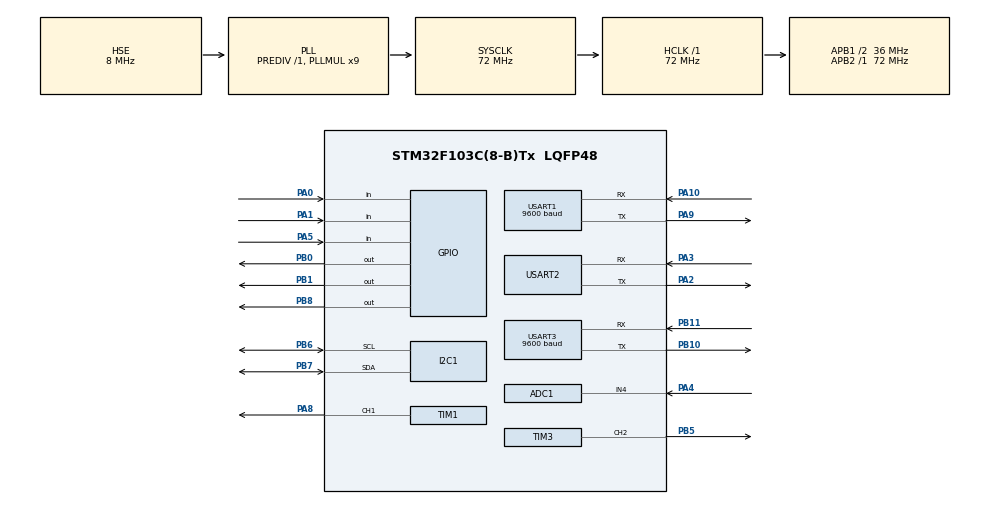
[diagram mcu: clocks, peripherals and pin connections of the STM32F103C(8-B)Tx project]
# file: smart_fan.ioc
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ADC1.Channel-1\#ChannelRegularConversion=ADC_CHANNEL_4
ADC1.NbrOfConversionFlag=1
ADC1.Rank-1\#ChannelRegularConversion=1
ADC1.SamplingTime-1\#ChannelRegularConversion=ADC_SAMPLETIME_1CYCLE_5
ADC1.master=1
FREERTOS.Mutexes01=oled_mutex,Dynamic,NULL,Available
FREERTOS.Queues01=xQueueCmd,16,8,1,Dynamic,NULL,NULL;xQueueSensorData,8,8,1,Dynamic,NULL,NULL
FREERTOS.Tasks01=defaultTask,24,128,StartDefaultTask,Default,NULL,Dynamic,NULL,NULL;Task_MotorFan,40,128,StartMotorFanTask,Default,NULL,Dynamic,NULL,NULL;Task_Sensor,32,128,StartSensorTask,Default,NULL,Dynamic,NULL,NULL;Task_Uart_UI,32,128,StartUart_UITask,Default,NULL,Dynamic,NULL,NULL;Task_Bluetooth,32,128,StartBluetoothTask,Default,NULL,Dynamic,NULL,NULL;Task_Voice,32,128,StartVoiceTask,Default,NULL,Dynamic,NULL,NULL;Task_OLED,24,128,StartOLEDTask,Default,NULL,Dynamic,NULL,NULL
Mcu.Family=STM32F1
Mcu.Name=STM32F103C(8-B)Tx
Mcu.Package=LQFP48
NVIC.PriorityGroup=NVIC_PRIORITYGROUP_4
NVIC.TIM4_IRQn=true\:15\:0\:false\:false\:true\:false\:false\:true\:true
NVIC.TimeBase=TIM4_IRQn
NVIC.TimeBaseIP=TIM4
NVIC.USART1_IRQn=true\:5\:0\:false\:false\:true\:true\:true\:true\:true
NVIC.USART2_IRQn=true\:5\:0\:false\:false\:true\:true\:true\:true\:true
NVIC.USART3_IRQn=true\:5\:0\:false\:false\:true\:true\:true\:true\:true
PA0-WKUP.GPIO_Mode=GPIO_MODE_INPUT
PA0-WKUP.Signal=GPIO_Input
PA1.GPIO_Mode=GPIO_MODE_INPUT
PA1.Signal=GPIO_Input
PA10.Mode=Asynchronous
PA10.Signal=USART1_RX
PA13.Mode=Serial_Wire
PA13.Signal=SYS_JTMS-SWDIO
PA14.Mode=Serial_Wire
PA14.Signal=SYS_JTCK-SWCLK
PA2.GPIO_Mode=GPIO_MODE_AF_PP
PA2.Mode=Asynchronous
PA2.Signal=USART2_TX
PA3.Mode=Asynchronous
PA3.Signal=USART2_RX
PA4.GPIO_Mode=GPIO_MODE_ANALOG
PA4.Signal=ADCx_IN4
PA5.GPIO_Mode=GPIO_MODE_INPUT
PA5.Signal=GPIO_Input
PA8.GPIO_ModeDefaultPP=GPIO_MODE_AF_PP
PA8.Signal=S_TIM1_CH1
PA9.Mode=Asynchronous
PA9.Signal=USART1_TX
PB0.PinState=GPIO_PIN_RESET
PB0.Signal=GPIO_Output
PB1.PinState=GPIO_PIN_RESET
PB1.Signal=GPIO_Output
PB10.Mode=Asynchronous
PB10.Signal=USART3_TX
PB11.Mode=Asynchronous
PB11.Signal=USART3_RX
PB5.GPIO_ModeDefaultPP=GPIO_MODE_AF_PP
PB5.Signal=S_TIM3_CH2
PB6.Mode=I2C
PB6.Signal=I2C1_SCL
PB7.Mode=I2C
PB7.Signal=I2C1_SDA
PB8.PinState=GPIO_PIN_SET
PB8.Signal=GPIO_Output
PD0-OSC_IN.Mode=HSE-External-Oscillator
PD0-OSC_IN.Signal=RCC_OSC_IN
PD1-OSC_OUT.Mode=HSE-External-Oscillator
PD1-OSC_OUT.Signal=RCC_OSC_OUT
ProjectManager.HeapSize=0x200
ProjectManager.StackSize=0x400
ProjectManager.TargetToolchain=MDK-ARM V5.32
RCC.ADCPresc=RCC_ADCPCLK2_DIV6
RCC.AHBFreq_Value=72000000
RCC.APB1CLKDivider=RCC_HCLK_DIV2
RCC.APB1Freq_Value=36000000
RCC.APB1TimFreq_Value=72000000
RCC.APB2Freq_Value=72000000
RCC.APB2TimFreq_Value=72000000
RCC.HCLKFreq_Value=72000000
RCC.PLLMUL=RCC_PLL_MUL9
RCC.PLLSourceVirtual=RCC_PLLSOURCE_HSE
RCC.SYSCLKFreq_VALUE=72000000
RCC.SYSCLKSource=RCC_SYSCLKSOURCE_PLLCLK
RCC.USBFreq_Value=72000000
SH.ADCx_IN4.0=ADC1_IN4,IN4
SH.S_TIM1_CH1.0=TIM1_CH1,PWM Generation1 CH1
SH.S_TIM3_CH2.0=TIM3_CH2,PWM Generation2 CH2
TIM1.Channel-PWM\ Generation1\ CH1=TIM_CHANNEL_1
TIM3.Channel-PWM\ Generation2\ CH2=TIM_CHANNEL_2
USART1.BaudRate=9600
USART1.VirtualMode=VM_ASYNC
USART2.VirtualMode=VM_ASYNC
USART3.BaudRate=9600
USART3.VirtualMode=VM_ASYNC
VP_FREERTOS_VS_CMSIS_V2.Mode=CMSIS_V2
VP_SYS_VS_tim4.Mode=TIM4
VP_TIM1_VS_ClockSourceINT.Mode=Internal
VP_TIM3_VS_ClockSourceINT.Mode=Internal
board=custom

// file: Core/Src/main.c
/* USER CODE BEGIN Header */
/**
  ******************************************************************************
  * @file           : main.c
  * @brief          : Main program body
  ******************************************************************************
  * @attention
  *
  * Copyright (c) 2026 STMicroelectronics.
  * All rights reserved.
  *
  * This software is licensed under terms that can be found in the LICENSE file
  * in the root directory of this software component.
  * If no LICENSE file comes with this software, it is provided AS-IS.
  *
  ******************************************************************************
  */
/* USER CODE END Header */
#include "main.h"
#include "cmsis_os.h"
#include "adc.h"
#include "i2c.h"
#include "tim.h"
#include "usart.h"
#include "gpio.h"

void SystemClock_Config(void);
void MX_FREERTOS_Init(void);

int main(void)
{

  /* MCU Configuration--------------------------------------------------------*/

  /* Reset of all peripherals, Initializes the Flash interface and the Systick. */
  HAL_Init();

  /* Configure the system clock */
  SystemClock_Config();

  /* Initialize all configured peripherals */
  MX_GPIO_Init();
  MX_ADC1_Init();
  MX_TIM1_Init();
  MX_TIM3_Init();
  MX_I2C1_Init();
  MX_USART1_UART_Init();
  MX_USART2_UART_Init();
  MX_USART3_UART_Init();

  /* Init scheduler */
  osKernelInitialize();  /* Call init function for freertos objects (in cmsis_os2.c) */
  MX_FREERTOS_Init();

  /* Start scheduler */
  osKernelStart();

  /* We should never get here as control is now taken by the scheduler */

  /* Infinite loop */
  while (1)
  {

  }
}

void SystemClock_Config(void)
{
  RCC_OscInitTypeDef RCC_OscInitStruct = {0};
  RCC_ClkInitTypeDef RCC_ClkInitStruct = {0};
  RCC_PeriphCLKInitTypeDef PeriphClkInit = {0};

  /** Initializes the RCC Oscillators according to the specified parameters
  * in the RCC_OscInitTypeDef structure.
  */
  RCC_OscInitStruct.OscillatorType = RCC_OSCILLATORTYPE_HSE;
  RCC_OscInitStruct.HSEState = RCC_HSE_ON;
  RCC_OscInitStruct.HSEPredivValue = RCC_HSE_PREDIV_DIV1;
  RCC_OscInitStruct.HSIState = RCC_HSI_ON;
  RCC_OscInitStruct.PLL.PLLState = RCC_PLL_ON;
  RCC_OscInitStruct.PLL.PLLSource = RCC_PLLSOURCE_HSE;
  RCC_OscInitStruct.PLL.PLLMUL = RCC_PLL_MUL9;
  if (HAL_RCC_OscConfig(&RCC_OscInitStruct) != HAL_OK)
  {
    Error_Handler();
  }

  /** Initializes the CPU, AHB and APB buses clocks
  */
  RCC_ClkInitStruct.ClockType = RCC_CLOCKTYPE_HCLK|RCC_CLOCKTYPE_SYSCLK
                              |RCC_CLOCKTYPE_PCLK1|RCC_CLOCKTYPE_PCLK2;
  RCC_ClkInitStruct.SYSCLKSource = RCC_SYSCLKSOURCE_PLLCLK;
  RCC_ClkInitStruct.AHBCLKDivider = RCC_SYSCLK_DIV1;
  RCC_ClkInitStruct.APB1CLKDivider = RCC_HCLK_DIV2;
  RCC_ClkInitStruct.APB2CLKDivider = RCC_HCLK_DIV1;

  if (HAL_RCC_ClockConfig(&RCC_ClkInitStruct, FLASH_LATENCY_2) != HAL_OK)
  {
    Error_Handler();
  }
  PeriphClkInit.PeriphClockSelection = RCC_PERIPHCLK_ADC;
  PeriphClkInit.AdcClockSelection = RCC_ADCPCLK2_DIV6;
  if (HAL_RCCEx_PeriphCLKConfig(&PeriphClkInit) != HAL_OK)
  {
    Error_Handler();
  }
}

void HAL_TIM_PeriodElapsedCallback(TIM_HandleTypeDef *htim)
{
  if (htim->Instance == TIM4)
  {
    HAL_IncTick();
  }
}

void Error_Handler(void)
{
  __disable_irq();
  while (1)
  {
  }
}

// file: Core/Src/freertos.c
/* USER CODE BEGIN Header */
/**
  ******************************************************************************
  * File Name          : freertos.c
  * Description        : Code for freertos applications
  ******************************************************************************
  * @attention
  *
  * Copyright (c) 2026 STMicroelectronics.
  * All rights reserved.
  *
  * This software is licensed under terms that can be found in the LICENSE file
  * in the root directory of this software component.
  * If no LICENSE file comes with this software, it is provided AS-IS.
  *
  ******************************************************************************
  */
/* USER CODE END Header */

#include "FreeRTOS.h"
#include "task.h"
#include "main.h"
#include "cmsis_os.h"

/* USER CODE BEGIN Includes */
#include "app_state.h"
#include "app_fan.h"
#include "app_sensor.h"
#include "app_oled.h"
#include "app_ui.h"
#include "app_bt.h"
#include "app_voice.h"
#include "bsp_delay.h"
#include "bsp_uart.h"
/* USER CODE END Includes */

/* Definitions for defaultTask */
osThreadId_t defaultTaskHandle;
const osThreadAttr_t defaultTask_attributes = {
  .name = "defaultTask",
  .stack_size = 128 * 4,
  .priority = (osPriority_t) osPriorityNormal,
};
/* Definitions for Task_MotorFan */
osThreadId_t Task_MotorFanHandle;
const osThreadAttr_t Task_MotorFan_attributes = {
  .name = "Task_MotorFan",
  .stack_size = 128 * 4,
  .priority = (osPriority_t) osPriorityHigh,
};
/* Definitions for Task_Sensor */
osThreadId_t Task_SensorHandle;
const osThreadAttr_t Task_Sensor_attributes = {
  .name = "Task_Sensor",
  .stack_size = 128 * 4,
  .priority = (osPriority_t) osPriorityAboveNormal,
};
/* Definitions for Task_Uart_UI */
osThreadId_t Task_Uart_UIHandle;
const osThreadAttr_t Task_Uart_UI_attributes = {
  .name = "Task_Uart_UI",
  .stack_size = 128 * 4,
  .priority = (osPriority_t) osPriorityAboveNormal,
};
/* Definitions for Task_Bluetooth */
osThreadId_t Task_BluetoothHandle;
const osThreadAttr_t Task_Bluetooth_attributes = {
  .name = "Task_Bluetooth",
  .stack_size = 128 * 4,
  .priority = (osPriority_t) osPriorityAboveNormal,
};
/* Definitions for Task_Voice */
osThreadId_t Task_VoiceHandle;
const osThreadAttr_t Task_Voice_attributes = {
  .name = "Task_Voice",
  .stack_size = 128 * 4,
  .priority = (osPriority_t) osPriorityAboveNormal,
};
/* Definitions for Task_OLED */
osThreadId_t Task_OLEDHandle;
const osThreadAttr_t Task_OLED_attributes = {
  .name = "Task_OLED",
  .stack_size = 128 * 4,
  .priority = (osPriority_t) osPriorityNormal,
};
/* Definitions for xQueueCmd */
osMessageQueueId_t xQueueCmdHandle;
const osMessageQueueAttr_t xQueueCmd_attributes = {
  .name = "xQueueCmd"
};
/* Definitions for xQueueSensorData */
osMessageQueueId_t xQueueSensorDataHandle;
const osMessageQueueAttr_t xQueueSensorData_attributes = {
  .name = "xQueueSensorData"
};
/* Definitions for oled_mutex */
osMutexId_t oled_mutexHandle;
const osMutexAttr_t oled_mutex_attributes = {
  .name = "oled_mutex"
};

void StartDefaultTask(void *argument);
void StartMotorFanTask(void *argument);
void StartSensorTask(void *argument);
void StartUart_UITask(void *argument);
void StartBluetoothTask(void *argument);
void StartVoiceTask(void *argument);
void StartOLEDTask(void *argument);

void MX_FREERTOS_Init(void); /* (MISRA C 2004 rule 8.1) */

void MX_FREERTOS_Init(void) {
  /* USER CODE BEGIN Init */
  /* 应用初始化分两步:
     1) AppFan_Init  : 全局状态复位 + 执行器初始化(风扇/舵机/蜂鸣器),
                        先把 PWM 置为安全状态, 保证创建任务前硬件不会乱动
     2) BspUart_Init : 打开三个串口的接收中断, 之后才允许数据进来
     其它外设初始化(Sensor/OLED/协议)放在各自任务里完成, 因为它们不必抢在
     调度器启动前执行, 放在任务里还能用 osDelay 等模块上电稳定。 */
  AppFan_Init();
  BspUart_Init();
  /* USER CODE END Init */
  /* Create the mutex(es) */
  /* creation of oled_mutex */
  oled_mutexHandle = osMutexNew(&oled_mutex_attributes);

  /* Create the queue(s) */
  /* creation of xQueueCmd */
  xQueueCmdHandle = osMessageQueueNew (16, 8, &xQueueCmd_attributes);

  /* creation of xQueueSensorData */
  xQueueSensorDataHandle = osMessageQueueNew (8, 8, &xQueueSensorData_attributes);

  /* Create the thread(s) */
  /* creation of defaultTask */
  defaultTaskHandle = osThreadNew(StartDefaultTask, NULL, &defaultTask_attributes);

  /* creation of Task_MotorFan */
  Task_MotorFanHandle = osThreadNew(StartMotorFanTask, NULL, &Task_MotorFan_attributes);

  /* creation of Task_Sensor */
  Task_SensorHandle = osThreadNew(StartSensorTask, NULL, &Task_Sensor_attributes);

  /* creation of Task_Uart_UI */
  Task_Uart_UIHandle = osThreadNew(StartUart_UITask, NULL, &Task_Uart_UI_attributes);

  /* creation of Task_Bluetooth */
  Task_BluetoothHandle = osThreadNew(StartBluetoothTask, NULL, &Task_Bluetooth_attributes);

  /* creation of Task_Voice */
  Task_VoiceHandle = osThreadNew(StartVoiceTask, NULL, &Task_Voice_attributes);

  /* creation of Task_OLED */
  Task_OLEDHandle = osThreadNew(StartOLEDTask, NULL, &Task_OLED_attributes);

}

void StartDefaultTask(void *argument)
{
  /* USER CODE BEGIN StartDefaultTask */
  /* 本任务承担"上电初始化"职责, 做完后永久挂起, 不再占 CPU。
     不删除它的原因: 任务定义在 .ioc 里, 删掉后重新生成 CubeMX 代码又会冒出来,
     保留并挂起最稳妥。 */
  BSP_DelayInit();        /* DWT 周期计数器, 给 DHT11 提供 1us 精度延时 */
  AppSensor_Init();       /* 红外 / 压力 / DHT11 */
  AppOled_Init();         /* OLED, 没插屏也不会卡住 */
  AppUi_Init();           /* 串口屏协议 */
  AppBt_Init();           /* 蓝牙协议 */
  AppVoice_Init();        /* 语音协议 */

  vTaskSuspend(NULL);     /* 初始化完成, 交还 CPU */
  /* USER CODE END StartDefaultTask */
}

void StartMotorFanTask(void *argument)
{
  /* USER CODE BEGIN StartMotorFanTask */
  /* Task_MotorFan 主体在 App 层实现; 该函数内部是死循环, 不返回 */
  AppFan_Task(argument);
  /* USER CODE END StartMotorFanTask */
}

void StartSensorTask(void *argument)
{
  /* USER CODE BEGIN StartSensorTask */
  /* Task_Sensor 主体在 App 层实现; 该函数内部是死循环, 不返回 */
  AppSensor_Task(argument);
  /* USER CODE END StartSensorTask */
}

void StartUart_UITask(void *argument)
{
  /* USER CODE BEGIN StartUart_UITask */
  /* Task_Uart_UI 主体在 App 层实现; 该函数内部是死循环, 不返回 */
  AppUi_Task(argument);
  /* USER CODE END StartUart_UITask */
}

void StartBluetoothTask(void *argument)
{
  /* USER CODE BEGIN StartBluetoothTask */
  /* Task_Bluetooth 主体在 App 层实现; 该函数内部是死循环, 不返回 */
  AppBt_Task(argument);
  /* USER CODE END StartBluetoothTask */
}

void StartVoiceTask(void *argument)
{
  /* USER CODE BEGIN StartVoiceTask */
  /* Task_Voice 主体在 App 层实现; 该函数内部是死循环, 不返回 */
  AppVoice_Task(argument);
  /* USER CODE END StartVoiceTask */
}

void StartOLEDTask(void *argument)
{
  /* USER CODE BEGIN StartOLEDTask */
  /* Task_OLED 主体在 App 层实现; 该函数内部是死循环, 不返回 */
  AppOled_Task(argument);
  /* USER CODE END StartOLEDTask */
}
